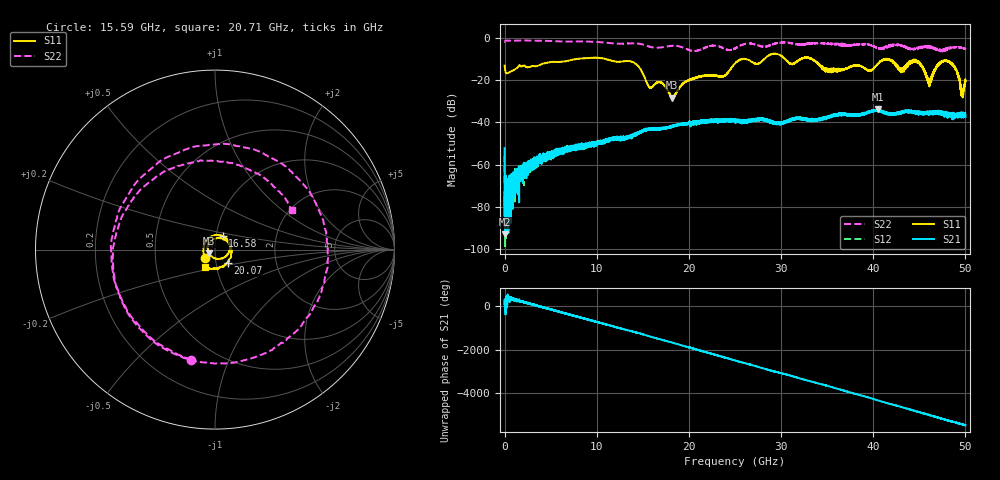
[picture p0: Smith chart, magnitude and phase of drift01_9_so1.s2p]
!Created with skrf (http://scikit-rf.org).
# Hz S RI R 50.0
!freq ReS11 ImS11 ReS21 ImS21 ReS12 ImS12 ReS22 ImS22
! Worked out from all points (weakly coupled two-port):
!   10001 points, 300 kHz to 50 GHz, reference 50 ohm
!   highest |S21| = -33.88 dB at 40.52 GHz (marker M1); lowest = -93.0 dB at 55.3 MHz (marker M2)
!   lowest |S11| = -28.3 dB at 18.16 GHz (marker M3), VSWR 1.08, Z = 46.9 - j2.01 ohm
!   |S11| at or under -10 dB: 10.84 GHz to 25.83 GHz (15 GHz wide, 81.8 % of centre); 33.25 GHz to 41.42 GHz (8.172 GHz wide, 21.9 % of centre); 41.42 GHz to end of sweep (the widest 3 of 13)
!   |S22| runs from -6.5 to -1.4 dB; largest |S21 - S12| = 0.0039
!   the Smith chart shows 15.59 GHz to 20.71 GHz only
!   S11 on the Smith chart (normalised r, x): 15.59 GHz: 0.89, -0.09; 16.58 GHz: 1.08, +0.16; 20.07 GHz: 1.14, -0.17; 20.71 GHz: 0.88, -0.17
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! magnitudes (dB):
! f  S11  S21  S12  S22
! 300 kHz  -13.2  -52.2  -55.7  -2.1
! 55.3 MHz  -15.1  -93.0  -77.6  -1.6
! 260.3 MHz  -16.9  -75.0  -77.7  -1.4
! 2.87 GHz  -13.7  -57.6  -60.2  -1.4
! 8.335 GHz  -9.9  -51.2  -52.0  -1.8
! 13.88 GHz  -11.5  -45.8  -46.5  -2.7
! 15.59 GHz  -22.8  -43.3  -43.4  -4.0
! 16.58 GHz  -21.2  -43.1  -43.3  -4.8
! 16.67 GHz  -21.0  -43.6  -43.2  -4.8
! 18.16 GHz  -28.3  -41.9  -41.9  -3.9
! 20.07 GHz  -19.8  -40.7  -40.6  -6.0
! 20.71 GHz  -19.0  -40.5  -40.3  -6.3
! 25 GHz  -12.2  -39.4  -39.5  -5.1
! 33.34 GHz  -10.2  -39.5  -38.9  -2.7
! 35.22 GHz  -15.3  -37.4  -37.5  -2.9
! 40.52 GHz  -12.5  -33.9  -34.1  -5.1
! 41.67 GHz  -10.4  -35.7  -35.8  -4.3
! 44.8 GHz  -11.5  -35.9  -35.5  -4.9
! 46.1 GHz  -20.7  -35.3  -35.7  -4.3
! 48.04 GHz  -11.3  -35.6  -35.9  -5.1
! 49.63 GHz  -27.9  -37.4  -37.4  -4.8
! 50 GHz  -20.5  -37.5  -36.0  -5.4
